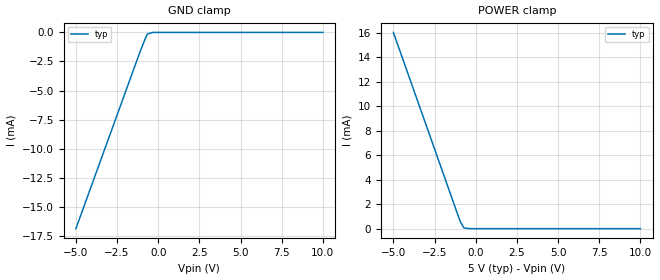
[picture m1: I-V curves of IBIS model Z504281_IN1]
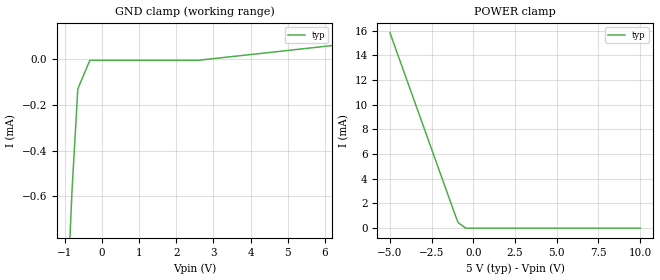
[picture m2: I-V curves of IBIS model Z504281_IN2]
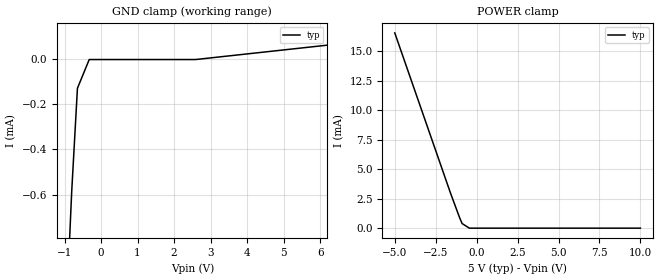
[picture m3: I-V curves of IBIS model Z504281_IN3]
| YOU ARE ONLY AUTHORIZED TO USE THIS SOFTWARE
| ACCORDING TO LICENSOR'S LICENSE RESTRICTIONS.
[IBIS Ver] 3.1
[File Name] mc74hc688dw.ibs
[File Rev] 2.0
[Source] Measured and created by ICX Technology
[Date] Friday 7/14/00 9:08:11 AM
[Copyright]
| (C) COPYRIGHT 1993-2000
| MENTOR GRAPHICS CORPORATION
| ICX STANDARD LIBRARY, ICX PROJECT MODELING,
| ICX CUSTOM MODELING, ICX VENDOR MODEL
| ALL RIGHTS RESERVED.
| THE FOLLOWING ARE TRADEMARKS OR SERVICE MARKS OF
| MENTOR GRAPHICS CORPORATION:ICX (R), ICX STANDARD
| LIBRARY(R), ICX PROJECT MODELING(R), ICX CUSTOM
| MODELING(R), qualityIBIS(TM), MODELVIEWER(TM),
| AND MODELEDITOR(TM)
| ALL COPIES OF SOFTWARE, INCLUDING BUT NOT LIMITED TO
| ANY MODIFICATIONS, ENHANCEMENTS OR DERIVATIVE WORKS,
| MUST CONTAIN ALL MENTOR GRAPHICS CORPORATION'S
| NOTICES AND LEGENDS, INCLUDING THOSE EMBEDDED IN
| SOFTWARE AND THOSE AFFIXED TO SOFTWARE MEDIUM
| AND CONTAINER, AS RECEIVED FROM MENTOR GRAPHICS
| CORPORATION.
|  ZAP Model Builder 2.7
[Component] MC74HC688DW
[Manufacturer] OnSemiconductor
[Package]
| variable   typ   min   max
R_pkg  .178ohms NA NA
L_pkg  4.43nH NA NA
C_pkg  .62pF NA NA
[Pin] signal_name  model_name  R_pin  L_pin C_pin
1 _G Z504281_IN1 .186 5.37n .68p
2 P0 Z504281_IN2 .182 4.89n .65p
3 Q0 Z504281_IN3 .178 4.42n .62p
4 P1 Z504281_IN2 .174 3.96n .59p
5 Q1 Z504281_IN3 .17 3.51n .56p
6 P2 Z504281_IN2 .17 3.51n .56p
7 Q2 Z504281_IN3 .174 3.96n .59p
8 P3 Z504281_IN2 .178 4.42n .62p
9 Q3 Z504281_IN3 .182 4.89n .65p
10 GROUND GND .186 5.37n .68p
11 P4 Z504281_IN2 .186 5.37n .68p
12 Q4 Z504281_IN3 .182 4.89n .65p
13 P5 Z504281_IN2 .178 4.42n .62p
14 Q5 Z504281_IN3 .174 3.96n .59p
15 P6 Z504281_IN2 .17 3.51n .56p
16 Q6 Z504281_IN3 .17 3.51n .56p
17 P7 Z504281_IN2 .174 3.96n .59p
18 Q7 Z504281_IN3 .178 4.42n .62p
19 _P_EQ_Q Z504281_OUT4 .182 4.89n .65p
20 VCC POWER .186 5.37n .68p
| Models and submodels in the file (4): Z504281_IN1 (Input), Z504281_IN2 (Input), Z504281_IN3 (Input), Z504281_OUT4 (Output)
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| (C) COPYRIGHT 1993-2000
| MENTOR GRAPHICS CORPORATION
| ICX STANDARD LIBRARY, ICX PROJECT MODELING,
| ICX CUSTOM MODELING, ICX VENDOR MODEL
| ALL RIGHTS RESERVED.
| THE FOLLOWING ARE TRADEMARKS OR SERVICE MARKS OF
| MENTOR GRAPHICS CORPORATION:ICX (R), ICX STANDARD
| LIBRARY(R), ICX PROJECT MODELING(R), ICX CUSTOM
| MODELING(R), qualityIBIS(TM), MODELVIEWER(TM),
| AND MODELEDITOR(TM)
| ALL COPIES OF SOFTWARE, INCLUDING BUT NOT LIMITED TO
| ANY MODIFICATIONS, ENHANCEMENTS OR DERIVATIVE WORKS,
| MUST CONTAIN ALL MENTOR GRAPHICS CORPORATION'S
| NOTICES AND LEGENDS, INCLUDING THOSE EMBEDDED IN
| SOFTWARE AND THOSE AFFIXED TO SOFTWARE MEDIUM
| AND CONTAINER, AS RECEIVED FROM MENTOR GRAPHICS
| CORPORATION.
| Model Application Version 1.89 2/18/99.
[Model] Z504281_IN1
Model_type Input
Vinl = 1.000V
Vinh = 3.500V
C_comp 4.000pF NA NA
| variable typ   min   max
[Voltage Range] 5.000V NA NA
[GND Clamp Reference] 0.000V NA NA
[POWER Clamp Reference] 5.000V NA NA
[GND Clamp]
-5V       -16.88mA   NA         NA
-1.133V   -1.786mA   NA         NA
-766.5mV  -469.7uA   NA         NA
-645.7mV  -131uA     NA         NA
-322.8mV  -5.124uA   NA         NA
10V       -2.496uA   NA         NA
[POWER Clamp]
-5V       16.01mA    NA         NA
-1.006V   828.6uA    NA         NA
-889mV    450.3uA    NA         NA
-712mV    56.54uA    NA         NA
-356mV    0A         NA         NA
10V       0A         NA         NA
| (C) COPYRIGHT 1993-2000
| MENTOR GRAPHICS CORPORATION
| ICX STANDARD LIBRARY, ICX PROJECT MODELING,
| ICX CUSTOM MODELING, ICX VENDOR MODEL
| ALL RIGHTS RESERVED.
| THE FOLLOWING ARE TRADEMARKS OR SERVICE MARKS OF
| MENTOR GRAPHICS CORPORATION:ICX (R), ICX STANDARD
| LIBRARY(R), ICX PROJECT MODELING(R), ICX CUSTOM
| MODELING(R), qualityIBIS(TM), MODELVIEWER(TM),
| AND MODELEDITOR(TM)
| ALL COPIES OF SOFTWARE, INCLUDING BUT NOT LIMITED TO
| ANY MODIFICATIONS, ENHANCEMENTS OR DERIVATIVE WORKS,
| MUST CONTAIN ALL MENTOR GRAPHICS CORPORATION'S
| NOTICES AND LEGENDS, INCLUDING THOSE EMBEDDED IN
| SOFTWARE AND THOSE AFFIXED TO SOFTWARE MEDIUM
| AND CONTAINER, AS RECEIVED FROM MENTOR GRAPHICS
| CORPORATION.
| Model Application Version 1.89 2/18/99.
[Model] Z504281_IN2
Model_type Input
Vinl = 1.000V
Vinh = 3.500V
C_comp 4.000pF NA NA
| variable typ   min   max
[Voltage Range] 5.000V NA NA
[GND Clamp Reference] 0.000V NA NA
[POWER Clamp Reference] 5.000V NA NA
[GND Clamp]
-5V       -16.22mA   NA         NA
-802.4mV  -579uA     NA         NA
-645.8mV  -129.5uA   NA         NA
-322.9mV  -3.785uA   NA         NA
2.59V     -3.785uA   NA         NA
10V       129.2uA    NA         NA
[POWER Clamp]
-5V       15.81mA    NA         NA
-1.063V   960.5uA    NA         NA
-908mV    443.1uA    NA         NA
-454mV    0A         NA         NA
10V       0A         NA         NA
| (C) COPYRIGHT 1993-2000
| MENTOR GRAPHICS CORPORATION
| ICX STANDARD LIBRARY, ICX PROJECT MODELING,
| ICX CUSTOM MODELING, ICX VENDOR MODEL
| ALL RIGHTS RESERVED.
| THE FOLLOWING ARE TRADEMARKS OR SERVICE MARKS OF
| MENTOR GRAPHICS CORPORATION:ICX (R), ICX STANDARD
| LIBRARY(R), ICX PROJECT MODELING(R), ICX CUSTOM
| MODELING(R), qualityIBIS(TM), MODELVIEWER(TM),
| AND MODELEDITOR(TM)
| ALL COPIES OF SOFTWARE, INCLUDING BUT NOT LIMITED TO
| ANY MODIFICATIONS, ENHANCEMENTS OR DERIVATIVE WORKS,
| MUST CONTAIN ALL MENTOR GRAPHICS CORPORATION'S
| NOTICES AND LEGENDS, INCLUDING THOSE EMBEDDED IN
| SOFTWARE AND THOSE AFFIXED TO SOFTWARE MEDIUM
| AND CONTAINER, AS RECEIVED FROM MENTOR GRAPHICS
| CORPORATION.
| Model Application Version 1.89 2/18/99.
[Model] Z504281_IN3
Model_type Input
Vinl = 1.000V
Vinh = 3.500V
C_comp 4.000pF NA NA
| variable typ   min   max
[Voltage Range] 5.000V NA NA
[GND Clamp Reference] 0.000V NA NA
[POWER Clamp Reference] 5.000V NA NA
[GND Clamp]
-5V       -16.88mA   NA         NA
-1.133V   -1.785mA   NA         NA
-802.4mV  -585.6uA   NA         NA
-645.8mV  -129.5uA   NA         NA
-322.9mV  -2.354uA   NA         NA
2.59V     -2.354uA   NA         NA
10V       128.3uA    NA         NA
[POWER Clamp]
-5V       16.55mA    NA         NA
-1.602V   2.993mA    NA         NA
-1.044V   900.8uA    NA         NA
-888mV    391.4uA    NA         NA
-444mV    0A         NA         NA
10V       0A         NA         NA
